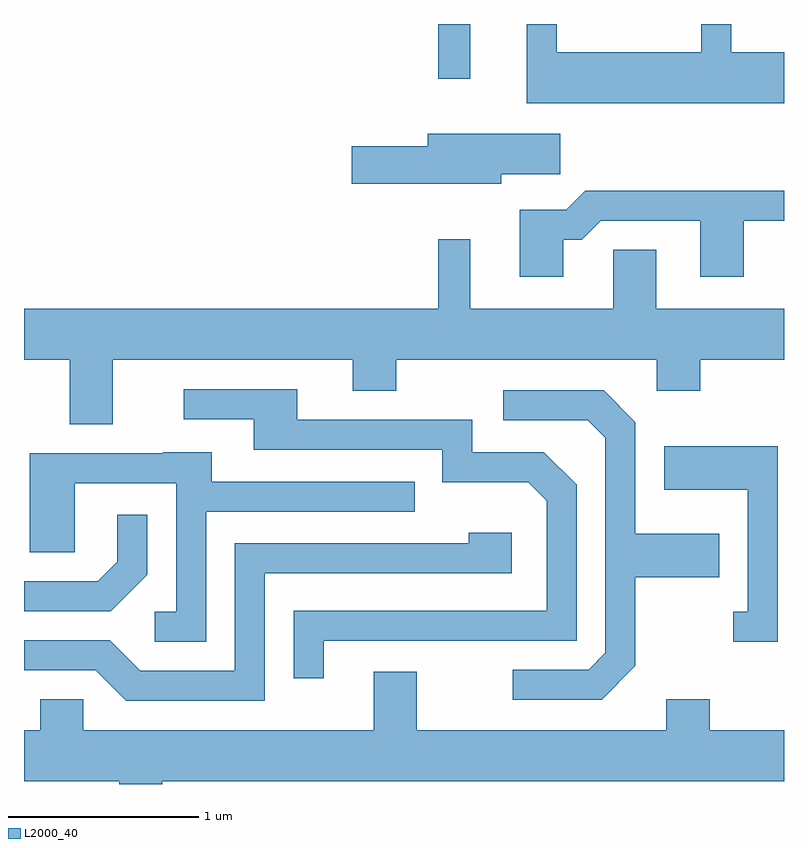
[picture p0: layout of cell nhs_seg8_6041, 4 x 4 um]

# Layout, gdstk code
import gdstk
lib = gdstk.Library(unit=1e-6, precision=1e-09)
def R(c, l, rs):  # rectangles x0, y0, x1, y1
    for r in rs: c.add(gdstk.rectangle(r[:2], r[2:], *l))
def P(c, l, *ps):  # polygons
    for p in ps: c.add(gdstk.Polygon(p, *l))
L2000_40 = (2000, 40)

nhs_seg8_6041 = lib.new_cell('nhs_seg8_6041')
R(nhs_seg8_6041, L2000_40, [(367.791,1900.053,367.959,1900.342)])
P(nhs_seg8_6041, L2000_40, [(369.611,1900.194),(369.334,1900.194),(369.334,1900.342),(369.176,1900.342),(369.176,1900.194),(368.414,1900.194),(368.414,1900.342),(368.256,1900.342),(368.256,1899.926),(369.611,1899.926)],
  [(368.124,1899.551),(368.434,1899.551),(368.434,1899.764),(367.736,1899.764),(367.736,1899.699),(367.336,1899.699),(367.336,1899.501),(368.124,1899.501)],
  [(368.449,1899.206),(368.547,1899.206),(368.647,1899.306),(369.171,1899.306),(369.171,1899.011),(369.399,1899.011),(369.399,1899.306),(369.611,1899.306),(369.611,1899.464),(368.564,1899.464),(368.464,1899.364),(368.221,1899.364),(368.221,1899.011),(368.449,1899.011)],
  [(366.079,1898.576),(367.341,1898.576),(367.341,1898.411),(367.569,1898.411),(367.569,1898.576),(368.941,1898.576),(368.941,1898.411),(369.169,1898.411),(369.169,1898.576),(369.611,1898.576),(369.611,1898.844),(368.939,1898.844),(368.939,1899.154),(368.711,1899.154),(368.711,1898.844),(367.959,1898.844),(367.959,1899.208),(367.791,1899.208),(367.791,1898.844),(365.611,1898.844),(365.611,1898.576),(365.851,1898.576),(365.851,1898.236),(366.079,1898.236)],
  [(367.189,1897.096),(368.519,1897.096),(368.519,1897.917),(368.347,1898.089),(367.969,1898.089),(367.969,1898.259),(367.049,1898.259),(367.049,1898.419),(366.453,1898.419),(366.453,1898.261),(366.821,1898.261),(366.821,1898.101),(367.811,1898.101),(367.811,1897.931),(368.264,1897.931),(368.361,1897.834),(368.361,1897.254),(367.031,1897.254),(367.031,1896.898),(367.189,1896.898)],
  [(368.829,1896.964),(368.829,1897.431),(369.269,1897.431),(369.269,1897.659),(368.829,1897.659),(368.829,1898.247),(368.662,1898.414),(368.133,1898.414),(368.133,1898.256),(368.579,1898.256),(368.671,1898.164),(368.671,1897.032),(368.584,1896.944),(368.183,1896.944),(368.183,1896.786),(368.652,1896.786)],
  [(369.579,1898.119),(368.981,1898.119),(368.981,1897.891),(369.421,1897.891),(369.421,1897.249),(369.343,1897.249),(369.343,1897.091),(369.579,1897.091)],
  [(366.569,1897.776),(367.668,1897.776),(367.668,1897.934),(366.599,1897.934),(366.599,1898.089),(366.345,1898.089),(366.345,1898.084),(365.641,1898.084),(365.641,1897.561),(365.879,1897.561),(365.879,1897.926),(366.411,1897.926),(366.411,1897.249),(366.298,1897.249),(366.298,1897.091),(366.569,1897.091)],
  [(366.259,1897.444),(366.259,1897.758),(366.101,1897.758),(366.101,1897.512),(365.999,1897.409),(365.611,1897.409),(365.611,1897.251),(366.067,1897.251)],
  [(366.879,1897.451),(368.179,1897.451),(368.179,1897.664),(367.951,1897.664),(367.951,1897.609),(366.721,1897.609),(366.721,1896.939),(366.222,1896.939),(366.062,1897.099),(365.611,1897.099),(365.611,1896.941),(365.989,1896.941),(366.149,1896.781),(366.879,1896.781)],
  [(366.339,1896.356),(369.611,1896.356),(369.611,1896.624),(369.219,1896.624),(369.219,1896.789),(368.991,1896.789),(368.991,1896.624),(367.679,1896.624),(367.679,1896.934),(367.451,1896.934),(367.451,1896.624),(365.924,1896.624),(365.924,1896.789),(365.696,1896.789),(365.696,1896.624),(365.611,1896.624),(365.611,1896.356),(366.111,1896.356),(366.111,1896.342),(366.339,1896.342)])

lib.write_gds('nhs_seg8_6041.gds')
